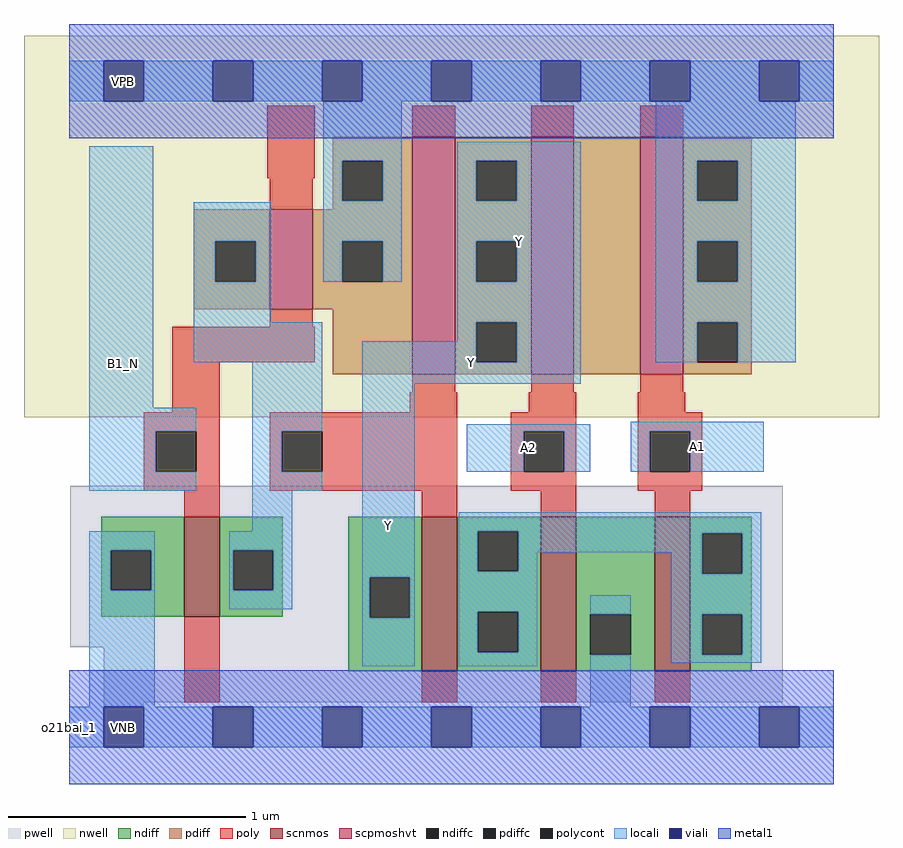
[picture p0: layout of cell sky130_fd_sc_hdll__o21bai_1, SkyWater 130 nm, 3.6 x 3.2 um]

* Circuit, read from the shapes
.subckt sky130_fd_sc_hdll__o21bai_1 A1 A2 B1_N VGND VNB VPB VPWR Y
XM1 n1 B1_N VGND VNB sky130_fd_pr__nfet_01v8 w=0.42 l=0.15
XM2 n2 n1 Y VNB sky130_fd_pr__nfet_01v8 w=0.65 l=0.15
XM3 VGND A2 n2 VNB sky130_fd_pr__nfet_01v8 w=0.65 l=0.15
XM4 n2 A1 VGND VNB sky130_fd_pr__nfet_01v8 w=0.65 l=0.15
XM5 VPWR B1_N n1 VPB sky130_fd_pr__pfet_01v8_hvt w=0.42 l=0.18
XM6 Y n1 VPWR VPB sky130_fd_pr__pfet_01v8_hvt w=1 l=0.18
XM7 n3 A2 Y VPB sky130_fd_pr__pfet_01v8_hvt w=1 l=0.18
XM8 VPWR A1 n3 VPB sky130_fd_pr__pfet_01v8_hvt w=1 l=0.18
.ends

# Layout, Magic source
magic
tech sky130A
magscale 1 2
<< nwell >>
rect -38 261 682 582
<< pwell >>
rect 1 67 601 203
rect 29 21 601 67
rect 29 -17 63 21
<< scnmos >>
rect 97 93 127 177
rect 297 47 327 177
rect 397 47 427 177
rect 493 47 523 177
<< scpmoshvt >>
rect 169 352 205 436
rect 289 297 325 497
rect 389 297 425 497
rect 481 297 517 497
<< ndiff >>
rect 27 149 97 177
rect 27 115 35 149
rect 69 115 97 149
rect 27 93 97 115
rect 127 149 180 177
rect 127 115 138 149
rect 172 115 180 149
rect 127 93 180 115
rect 235 126 297 177
rect 235 92 253 126
rect 287 92 297 126
rect 235 47 297 92
rect 327 165 397 177
rect 327 131 344 165
rect 378 131 397 165
rect 327 97 397 131
rect 327 63 344 97
rect 378 63 397 97
rect 327 47 397 63
rect 427 95 493 177
rect 427 61 439 95
rect 473 61 493 95
rect 427 47 493 61
rect 523 163 575 177
rect 523 129 533 163
rect 567 129 575 163
rect 523 95 575 129
rect 523 61 533 95
rect 567 61 575 95
rect 523 47 575 61
<< pdiff >>
rect 222 477 289 497
rect 222 443 230 477
rect 264 443 289 477
rect 222 436 289 443
rect 105 409 169 436
rect 105 375 123 409
rect 157 375 169 409
rect 105 352 169 375
rect 205 409 289 436
rect 205 375 230 409
rect 264 375 289 409
rect 205 352 289 375
rect 222 297 289 352
rect 325 477 389 497
rect 325 443 343 477
rect 377 443 389 477
rect 325 409 389 443
rect 325 375 343 409
rect 377 375 389 409
rect 325 341 389 375
rect 325 307 343 341
rect 377 307 389 341
rect 325 297 389 307
rect 425 297 481 497
rect 517 477 575 497
rect 517 443 529 477
rect 563 443 575 477
rect 517 409 575 443
rect 517 375 529 409
rect 563 375 575 409
rect 517 341 575 375
rect 517 307 529 341
rect 563 307 575 341
rect 517 297 575 307
<< ndiffc >>
rect 35 115 69 149
rect 138 115 172 149
rect 253 92 287 126
rect 344 131 378 165
rect 344 63 378 97
rect 439 61 473 95
rect 533 129 567 163
rect 533 61 567 95
<< pdiffc >>
rect 230 443 264 477
rect 123 375 157 409
rect 230 375 264 409
rect 343 443 377 477
rect 343 375 377 409
rect 343 307 377 341
rect 529 443 563 477
rect 529 375 563 409
rect 529 307 563 341
<< poly >>
rect 167 462 207 523
rect 289 497 325 523
rect 389 497 425 523
rect 481 497 517 523
rect 169 436 205 462
rect 169 337 205 352
rect 87 307 207 337
rect 87 265 127 307
rect 289 282 325 297
rect 389 282 425 297
rect 481 282 517 297
rect 287 265 327 282
rect 387 265 427 282
rect 63 249 127 265
rect 63 215 73 249
rect 107 215 127 249
rect 63 199 127 215
rect 169 249 327 265
rect 169 215 179 249
rect 213 215 327 249
rect 169 199 327 215
rect 372 249 427 265
rect 372 215 383 249
rect 417 215 427 249
rect 372 199 427 215
rect 479 265 519 282
rect 479 249 533 265
rect 479 215 489 249
rect 523 215 533 249
rect 479 199 533 215
rect 97 177 127 199
rect 297 177 327 199
rect 397 177 427 199
rect 493 177 523 199
rect 97 21 127 93
rect 297 21 327 47
rect 397 21 427 47
rect 493 21 523 47
<< polycont >>
rect 73 215 107 249
rect 179 215 213 249
rect 383 215 417 249
rect 489 215 523 249
<< locali >>
rect 0 527 29 561
rect 63 527 121 561
rect 155 527 213 561
rect 247 527 305 561
rect 339 527 397 561
rect 431 527 489 561
rect 523 527 581 561
rect 615 527 644 561
rect 17 269 71 489
rect 214 477 280 527
rect 214 443 230 477
rect 264 443 280 477
rect 105 409 170 442
rect 105 375 123 409
rect 157 375 170 409
rect 214 409 280 443
rect 214 375 230 409
rect 264 375 280 409
rect 327 477 431 493
rect 327 443 343 477
rect 377 443 431 477
rect 327 409 431 443
rect 327 375 343 409
rect 377 375 431 409
rect 105 341 170 375
rect 327 341 431 375
rect 105 307 213 341
rect 327 325 343 341
rect 17 249 107 269
rect 17 215 73 249
rect 17 199 107 215
rect 154 249 213 307
rect 154 215 179 249
rect 154 199 213 215
rect 247 307 343 325
rect 377 307 431 341
rect 494 477 612 527
rect 494 443 529 477
rect 563 443 612 477
rect 494 409 612 443
rect 494 375 529 409
rect 563 375 612 409
rect 494 341 612 375
rect 494 307 529 341
rect 563 307 612 341
rect 247 289 431 307
rect 154 165 188 199
rect 17 149 72 165
rect 17 115 35 149
rect 69 115 72 149
rect 17 17 72 115
rect 135 149 188 165
rect 135 115 138 149
rect 172 115 188 149
rect 135 99 188 115
rect 247 126 291 289
rect 335 249 439 255
rect 335 215 383 249
rect 417 215 439 249
rect 473 249 585 257
rect 473 215 489 249
rect 523 215 585 249
rect 247 92 253 126
rect 287 92 291 126
rect 247 51 291 92
rect 328 165 583 181
rect 328 131 344 165
rect 378 163 583 165
rect 378 147 533 163
rect 378 131 394 147
rect 328 97 394 131
rect 507 129 533 147
rect 567 129 583 163
rect 328 63 344 97
rect 378 63 394 97
rect 328 51 394 63
rect 439 95 473 111
rect 439 17 473 61
rect 507 95 583 129
rect 507 61 533 95
rect 567 61 583 95
rect 507 54 583 61
rect 0 -17 29 17
rect 63 -17 121 17
rect 155 -17 213 17
rect 247 -17 305 17
rect 339 -17 397 17
rect 431 -17 489 17
rect 523 -17 581 17
rect 615 -17 644 17
<< viali >>
rect 29 527 63 561
rect 121 527 155 561
rect 213 527 247 561
rect 305 527 339 561
rect 397 527 431 561
rect 489 527 523 561
rect 581 527 615 561
rect 29 -17 63 17
rect 121 -17 155 17
rect 213 -17 247 17
rect 305 -17 339 17
rect 397 -17 431 17
rect 489 -17 523 17
rect 581 -17 615 17
<< metal1 >>
rect 0 561 644 592
rect 0 527 29 561
rect 63 527 121 561
rect 155 527 213 561
rect 247 527 305 561
rect 339 527 397 561
rect 431 527 489 561
rect 523 527 581 561
rect 615 527 644 561
rect 0 496 644 527
rect 0 17 644 48
rect 0 -17 29 17
rect 63 -17 121 17
rect 155 -17 213 17
rect 247 -17 305 17
rect 339 -17 397 17
rect 431 -17 489 17
rect 523 -17 581 17
rect 615 -17 644 17
rect 0 -48 644 -17
<< labels >>
flabel locali s 473 215 585 257 0 FreeSans 400 0 0 0 A1
port 1 nsew signal input
flabel locali s 327 325 431 493 0 FreeSans 400 0 0 0 Y
port 8 nsew signal output
flabel locali s 29 289 63 323 0 FreeSans 400 0 0 0 B1_N
port 3 nsew signal input
flabel locali s 335 215 439 255 0 FreeSans 400 0 0 0 A2
port 2 nsew signal input
flabel nwell s 29 527 63 561 0 FreeSans 200 0 0 0 VPB
port 6 nsew power bidirectional
flabel pwell s 29 -17 63 17 0 FreeSans 200 0 0 0 VNB
port 5 nsew ground bidirectional
flabel metal1 s 29 527 63 561 0 FreeSans 200 0 0 0 VPWR
port 7 nsew power bidirectional
flabel metal1 s 29 -17 63 17 0 FreeSans 200 0 0 0 VGND
port 4 nsew ground bidirectional
rlabel comment s 0 0 0 0 4 o21bai_1
rlabel locali s 247 289 431 325 1 Y
port 8 nsew signal output
rlabel locali s 247 51 291 289 1 Y
port 8 nsew signal output
<< properties >>
string LEFsite unithd
string LEFclass CORE
string FIXED_BBOX 0 0 644 544
string GDS_FILE $PDKPATH/libs.ref/sky130_fd_sc_hdll/gds/sky130_fd_sc_hdll.gds
string LEFsymmetry X Y R90
string GDS_END 2457936
string GDS_START 2452440
string LEFproperties maskLayoutSubType "abstract" prCellType "standard" originalViewName "layout"
<< end >>
